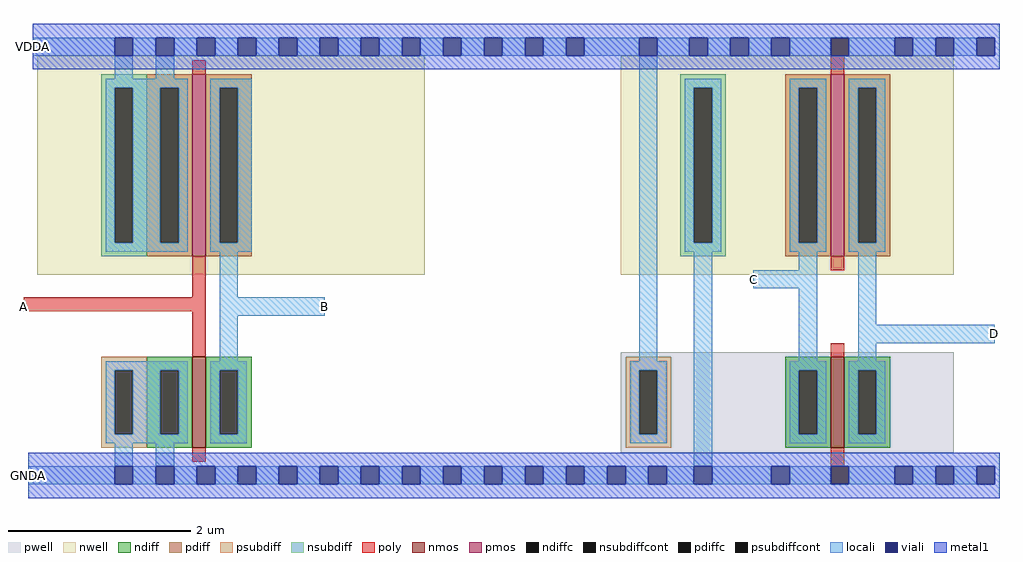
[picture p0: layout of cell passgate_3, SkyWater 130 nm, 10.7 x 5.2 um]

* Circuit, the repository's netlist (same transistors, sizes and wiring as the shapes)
* NGSPICE file created from passgate_3.ext - technology: sky130A

.subckt passgate_3
X0 B A VDDA VDDA sky130_fd_pr__nfet_01v8 ad=0.5 pd=3 as=0.5 ps=3 w=1 l=0.15
X1 D a_1400_n80# C VDDA sky130_fd_pr__nfet_01v8 ad=0.5 pd=3 as=0.5 ps=3 w=1 l=0.15
X2 B A VDDA VDDA sky130_fd_pr__pfet_01v8 ad=1 pd=5 as=1 ps=5 w=2 l=0.15
X3 D a_1400_390# C VDDA sky130_fd_pr__pfet_01v8 ad=1 pd=5 as=1 ps=5 w=2 l=0.15
.ends

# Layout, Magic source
magic
tech sky130A
<< nwell >>
rect -170 190 255 430
rect 470 190 835 430
<< pwell >>
rect 470 -5 835 105
<< nmos >>
rect 0 0 15 100
rect 700 0 715 100
<< pmos >>
rect 0 210 15 410
rect 700 210 715 410
<< ndiff >>
rect -50 85 0 100
rect -50 15 -35 85
rect -15 15 0 85
rect -50 0 0 15
rect 15 85 65 100
rect 15 15 30 85
rect 50 15 65 85
rect 15 0 65 15
rect 650 85 700 100
rect 650 15 665 85
rect 685 15 700 85
rect 650 0 700 15
rect 715 85 765 100
rect 715 15 730 85
rect 750 15 765 85
rect 715 0 765 15
<< pdiff >>
rect -50 395 0 410
rect -50 225 -35 395
rect -15 225 0 395
rect -50 210 0 225
rect 15 395 65 410
rect 15 225 30 395
rect 50 225 65 395
rect 15 210 65 225
rect 650 395 700 410
rect 650 225 665 395
rect 685 225 700 395
rect 650 210 700 225
rect 715 395 765 410
rect 715 225 730 395
rect 750 225 765 395
rect 715 210 765 225
<< ndiffc >>
rect -35 15 -15 85
rect 30 15 50 85
rect 665 15 685 85
rect 730 15 750 85
<< pdiffc >>
rect -35 225 -15 395
rect 30 225 50 395
rect 665 225 685 395
rect 730 225 750 395
<< psubdiff >>
rect -100 85 -50 100
rect -100 15 -85 85
rect -65 15 -50 85
rect -100 0 -50 15
rect 475 85 525 100
rect 475 15 490 85
rect 510 15 525 85
rect 475 0 525 15
<< nsubdiff >>
rect -100 395 -50 410
rect -100 225 -85 395
rect -65 225 -50 395
rect -100 210 -50 225
rect 535 395 585 410
rect 535 225 550 395
rect 570 225 585 395
rect 535 210 585 225
<< psubdiffcont >>
rect -85 15 -65 85
rect 490 15 510 85
<< nsubdiffcont >>
rect -85 225 -65 395
rect 550 225 570 395
<< poly >>
rect 700 430 720 450
rect 0 410 15 425
rect 700 410 715 430
rect 0 165 15 210
rect 700 195 715 210
rect -185 150 15 165
rect 0 100 15 150
rect 700 100 715 115
rect 0 -15 15 0
rect 700 -20 715 0
rect 700 -40 720 -20
<< locali >>
rect -175 430 -85 450
rect -65 430 -40 450
rect -20 430 5 450
rect 25 430 50 450
rect 70 430 95 450
rect 115 430 140 450
rect 160 430 185 450
rect 205 430 230 450
rect 250 430 275 450
rect 295 430 320 450
rect 340 430 365 450
rect 385 430 410 450
rect 430 430 490 450
rect 510 430 545 450
rect 565 430 590 450
rect 610 430 635 450
rect 655 430 700 450
rect 720 430 770 450
rect 790 430 815 450
rect 835 430 860 450
rect -85 405 -65 430
rect -40 405 -20 430
rect -95 395 -5 405
rect -95 225 -85 395
rect -65 225 -35 395
rect -15 225 -5 395
rect -95 215 -5 225
rect 20 395 65 405
rect 20 225 30 395
rect 50 225 65 395
rect 20 215 65 225
rect 30 165 50 215
rect 30 145 145 165
rect 30 95 50 145
rect 490 95 510 430
rect 540 395 580 405
rect 540 225 550 395
rect 570 225 580 395
rect 540 215 580 225
rect 655 395 695 405
rect 655 225 665 395
rect 685 225 695 395
rect 655 215 695 225
rect 720 395 760 405
rect 720 225 730 395
rect 750 225 760 395
rect 720 215 760 225
rect -95 85 -5 95
rect -95 15 -85 85
rect -65 15 -35 85
rect -15 15 -5 85
rect -95 5 -5 15
rect 20 85 60 95
rect 20 15 30 85
rect 50 15 60 85
rect 20 5 60 15
rect 480 85 520 95
rect 480 15 490 85
rect 510 15 520 85
rect 480 5 520 15
rect -85 -20 -65 5
rect -40 -20 -20 5
rect 550 -20 570 215
rect 665 195 685 215
rect 615 175 685 195
rect 665 95 685 175
rect 730 135 750 215
rect 730 115 880 135
rect 730 95 750 115
rect 655 85 695 95
rect 655 15 665 85
rect 685 15 695 85
rect 655 5 695 15
rect 720 85 760 95
rect 720 15 730 85
rect 750 15 760 85
rect 720 5 760 15
rect -180 -40 -85 -20
rect -65 -40 -40 -20
rect -20 -40 5 -20
rect 25 -40 50 -20
rect 70 -40 95 -20
rect 115 -40 140 -20
rect 160 -40 185 -20
rect 205 -40 230 -20
rect 250 -40 275 -20
rect 295 -40 320 -20
rect 340 -40 365 -20
rect 385 -40 410 -20
rect 430 -40 455 -20
rect 475 -40 500 -20
rect 520 -40 550 -20
rect 570 -40 635 -20
rect 655 -40 700 -20
rect 720 -40 770 -20
rect 790 -40 815 -20
rect 835 -40 860 -20
<< viali >>
rect -85 430 -65 450
rect -40 430 -20 450
rect 5 430 25 450
rect 50 430 70 450
rect 95 430 115 450
rect 140 430 160 450
rect 185 430 205 450
rect 230 430 250 450
rect 275 430 295 450
rect 320 430 340 450
rect 365 430 385 450
rect 410 430 430 450
rect 490 430 510 450
rect 545 430 565 450
rect 590 430 610 450
rect 635 430 655 450
rect 700 430 720 450
rect 770 430 790 450
rect 815 430 835 450
rect 860 430 880 450
rect -85 -40 -65 -20
rect -40 -40 -20 -20
rect 5 -40 25 -20
rect 50 -40 70 -20
rect 95 -40 115 -20
rect 140 -40 160 -20
rect 185 -40 205 -20
rect 230 -40 250 -20
rect 275 -40 295 -20
rect 320 -40 340 -20
rect 365 -40 385 -20
rect 410 -40 430 -20
rect 455 -40 475 -20
rect 500 -40 520 -20
rect 550 -40 570 -20
rect 635 -40 655 -20
rect 700 -40 720 -20
rect 770 -40 790 -20
rect 815 -40 835 -20
rect 860 -40 880 -20
<< metal1 >>
rect -175 450 885 465
rect -175 430 -85 450
rect -65 430 -40 450
rect -20 430 5 450
rect 25 430 50 450
rect 70 430 95 450
rect 115 430 140 450
rect 160 430 185 450
rect 205 430 230 450
rect 250 430 275 450
rect 295 430 320 450
rect 340 430 365 450
rect 385 430 410 450
rect 430 430 490 450
rect 510 430 545 450
rect 565 430 590 450
rect 610 430 635 450
rect 655 430 700 450
rect 720 430 770 450
rect 790 430 815 450
rect 835 430 860 450
rect 880 430 885 450
rect -175 415 885 430
rect -180 -20 885 -5
rect -180 -40 -85 -20
rect -65 -40 -40 -20
rect -20 -40 5 -20
rect 25 -40 50 -20
rect 70 -40 95 -20
rect 115 -40 140 -20
rect 160 -40 185 -20
rect 205 -40 230 -20
rect 250 -40 275 -20
rect 295 -40 320 -20
rect 340 -40 365 -20
rect 385 -40 410 -20
rect 430 -40 455 -20
rect 475 -40 500 -20
rect 520 -40 550 -20
rect 570 -40 635 -20
rect 655 -40 700 -20
rect 720 -40 770 -20
rect 790 -40 815 -20
rect 835 -40 860 -20
rect 880 -40 885 -20
rect -180 -55 885 -40
<< labels >>
flabel locali 145 155 145 155 3 FreeSans 400 0 80 0 B
flabel poly -185 155 -185 155 7 FreeSans 400 0 -80 0 A
flabel metal1 -175 440 -175 440 7 FreeSans 400 0 -80 0 VDDA
flabel metal1 -180 -30 -180 -30 7 FreeSans 400 0 -80 0 GNDA
flabel locali 880 125 880 125 3 FreeSans 400 0 80 0 D
flabel locali 615 185 615 185 7 FreeSans 400 0 -80 0 C
<< end >>
